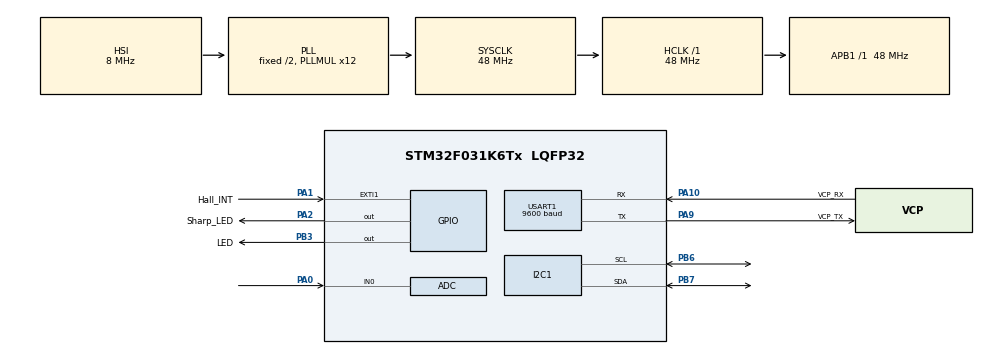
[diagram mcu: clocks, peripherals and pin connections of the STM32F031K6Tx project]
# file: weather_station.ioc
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ADC.ClockPrescaler=ADC_CLOCK_SYNC_PCLK_DIV4
ADC.ContinuousConvMode=DISABLE
ADC.DMAContinuousRequests=DISABLE
ADC.LowPowerAutoPowerOff=ENABLE
ADC.LowPowerAutoWait=ENABLE
ADC.SamplingTime=ADC_SAMPLETIME_239CYCLES_5
Mcu.Family=STM32F0
Mcu.Name=STM32F031K6Tx
Mcu.Package=LQFP32
NVIC.EXTI0_1_IRQn=true\:0\:0\:false\:false\:true\:true\:true\:true
NVIC.TIM14_IRQn=true\:0\:0\:false\:false\:true\:true\:true\:true
NVIC.USART1_IRQn=true\:0\:0\:false\:false\:true\:true\:true\:true
PA0.Mode=IN0
PA0.Signal=ADC_IN0
PA1.GPIO_Label=Hall_INT
PA1.GPIO_ModeDefaultEXTI=GPIO_MODE_IT_FALLING
PA1.GPIO_PuPd=GPIO_PULLUP
PA1.Signal=GPXTI1
PA10.GPIO_Label=VCP_RX
PA10.Mode=Asynchronous
PA10.Signal=USART1_RX
PA13.GPIO_Label=SWDIO
PA13.Mode=Serial_Wire
PA13.Signal=SYS_SWDIO
PA14.GPIO_Label=SWCLK
PA14.Mode=Serial_Wire
PA14.Signal=SYS_SWCLK
PA2.GPIO_Label=Sharp_LED
PA2.Signal=GPIO_Output
PA9.GPIO_Label=VCP_TX
PA9.Mode=Asynchronous
PA9.Signal=USART1_TX
PB3.GPIO_Label=LED
PB3.Signal=GPIO_Output
PB6.Mode=I2C
PB6.Signal=I2C1_SCL
PB7.Mode=I2C
PB7.Signal=I2C1_SDA
PF0-OSC_IN.Mode=HSE-External-Oscillator
PF0-OSC_IN.Signal=RCC_OSC_IN
PF1-OSC_OUT.Mode=HSE-External-Oscillator
PF1-OSC_OUT.Signal=RCC_OSC_OUT
ProjectManager.HeapSize=0x200
ProjectManager.StackSize=0x400
ProjectManager.TargetToolchain=STM32CubeIDE
RCC.AHBFreq_Value=48000000
RCC.APB1Freq_Value=48000000
RCC.APB1TimFreq_Value=48000000
RCC.HCLKFreq_Value=48000000
RCC.PLLMUL=RCC_PLL_MUL12
RCC.SYSCLKFreq_VALUE=48000000
RCC.SYSCLKSource=RCC_SYSCLKSOURCE_PLLCLK
TIM14.AutoReloadPreload=TIM_AUTORELOAD_PRELOAD_DISABLE
TIM14.ClockDivision=TIM_CLOCKDIVISION_DIV1
TIM14.Period=47999
TIM14.Prescaler=59999
TIM16.Period=65535
TIM16.Prescaler=47
USART1.BaudRate=9600
USART1.VirtualMode-Asynchronous=VM_ASYNC
VP_TIM14_VS_ClockSourceINT.Mode=Enable_Timer
VP_TIM16_VS_ClockSourceINT.Mode=Enable_Timer
board=NUCLEO-F031K6

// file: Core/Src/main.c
/* USER CODE BEGIN Header */
/**
 ******************************************************************************
 * @file           : main.c
 * @brief          : Main program body
 ******************************************************************************
 * @attention
 *
 * Copyright (c) 2023 STMicroelectronics.
 * All rights reserved.
 *
 * This software is licensed under terms that can be found in the LICENSE file
 * in the root directory of this software component.
 * If no LICENSE file comes with this software, it is provided AS-IS.
 *
 ******************************************************************************
 */
/* USER CODE END Header */
#include "main.h"
#include "adc.h"
#include "i2c.h"
#include "tim.h"
#include "usart.h"
#include "gpio.h"

/* USER CODE BEGIN Includes */
#include <stdio.h>
#include <stdlib.h>
#include "weather_data.h"
#include "bme280_interface.h"
#include "bme280_defs.h"
#include "bh1750.h"
/* USER CODE END Includes */

void SystemClock_Config(void);
/* USER CODE BEGIN PFP */
void HAL_TIM_PeriodElapsedCallback(TIM_HandleTypeDef *htim);
void HAL_GPIO_EXTI_Callback(uint16_t GPIO_Pin);

uint16_t read_dust(void);
void read_data(struct weather_data *data_collection);
void transfer_data(const struct weather_data *data_collection);
void delay_us(uint16_t us);
/* USER CODE END PFP */

/* USER CODE BEGIN 0 */

struct weather_data data_collection =
{ .temperature = 0, .pressure = 0, .humidity = 0, .ambient_light = 0, .dust = 0,
		.rotations = 0 };

uint8_t request_data = 1;
uint32_t anemometer_rotations = 0;

/* USER CODE END 0 */

int main(void)
{

  /* MCU Configuration--------------------------------------------------------*/

  /* Reset of all peripherals, Initializes the Flash interface and the Systick. */
  HAL_Init();

  /* Configure the system clock */
  SystemClock_Config();

  /* Initialize all configured peripherals */
  MX_GPIO_Init();
  MX_USART1_UART_Init();
  MX_TIM14_Init();
  MX_I2C1_Init();
  MX_ADC_Init();
  MX_TIM16_Init();
  /* USER CODE BEGIN 2 */
	HAL_TIM_Base_Start_IT(&htim14);
	HAL_TIM_Base_Start(&htim16);
	HAL_ADC_Start(&hadc);
	if (BME280_init() != BME280_OK)
	{
		printf("Blad inicjalizacji!\n");
	}
  /* USER CODE END 2 */

  /* Infinite loop */
  /* USER CODE BEGIN WHILE */
	while (1)
	{
		if (request_data)
		{
			read_data(&data_collection);
			transfer_data(&data_collection);
			request_data = 0;

		}
		HAL_SuspendTick();
		HAL_PWR_EnableSleepOnExit();
		HAL_PWR_EnterSLEEPMode(PWR_MAINREGULATOR_ON, PWR_SLEEPENTRY_WFI);
    /* USER CODE END WHILE */

    /* USER CODE BEGIN 3 */
		HAL_ResumeTick(); // Enable SysTick after wake-up
		HAL_GPIO_TogglePin(LED_GPIO_Port, LED_Pin);
		// HAL_Delay(100);
	}
  /* USER CODE END 3 */
}

void SystemClock_Config(void)
{
  RCC_OscInitTypeDef RCC_OscInitStruct = {0};
  RCC_ClkInitTypeDef RCC_ClkInitStruct = {0};
  RCC_PeriphCLKInitTypeDef PeriphClkInit = {0};

  /** Initializes the RCC Oscillators according to the specified parameters
  * in the RCC_OscInitTypeDef structure.
  */
  RCC_OscInitStruct.OscillatorType = RCC_OSCILLATORTYPE_HSI;
  RCC_OscInitStruct.HSIState = RCC_HSI_ON;
  RCC_OscInitStruct.HSICalibrationValue = RCC_HSICALIBRATION_DEFAULT;
  RCC_OscInitStruct.PLL.PLLState = RCC_PLL_ON;
  RCC_OscInitStruct.PLL.PLLSource = RCC_PLLSOURCE_HSI;
  RCC_OscInitStruct.PLL.PLLMUL = RCC_PLL_MUL12;
  RCC_OscInitStruct.PLL.PREDIV = RCC_PREDIV_DIV1;
  if (HAL_RCC_OscConfig(&RCC_OscInitStruct) != HAL_OK)
  {
    Error_Handler();
  }

  /** Initializes the CPU, AHB and APB buses clocks
  */
  RCC_ClkInitStruct.ClockType = RCC_CLOCKTYPE_HCLK|RCC_CLOCKTYPE_SYSCLK
                              |RCC_CLOCKTYPE_PCLK1;
  RCC_ClkInitStruct.SYSCLKSource = RCC_SYSCLKSOURCE_PLLCLK;
  RCC_ClkInitStruct.AHBCLKDivider = RCC_SYSCLK_DIV1;
  RCC_ClkInitStruct.APB1CLKDivider = RCC_HCLK_DIV1;

  if (HAL_RCC_ClockConfig(&RCC_ClkInitStruct, FLASH_LATENCY_1) != HAL_OK)
  {
    Error_Handler();
  }
  PeriphClkInit.PeriphClockSelection = RCC_PERIPHCLK_USART1|RCC_PERIPHCLK_I2C1;
  PeriphClkInit.Usart1ClockSelection = RCC_USART1CLKSOURCE_PCLK1;
  PeriphClkInit.I2c1ClockSelection = RCC_I2C1CLKSOURCE_HSI;
  if (HAL_RCCEx_PeriphCLKConfig(&PeriphClkInit) != HAL_OK)
  {
    Error_Handler();
  }
}

/* USER CODE BEGIN 4 */
void HAL_TIM_PeriodElapsedCallback(TIM_HandleTypeDef *htim)
{
	if (!request_data)
		request_data = 1;
	HAL_PWR_DisableSleepOnExit();
}

void HAL_GPIO_EXTI_Callback(uint16_t GPIO_Pin)
{
	if (GPIO_Pin == Hall_INT_Pin)
	{
		anemometer_rotations++;
		HAL_GPIO_TogglePin(LED_GPIO_Port, LED_Pin);
	}
}

uint16_t read_dust(void)
{
	uint16_t dust = 0;
	for (uint8_t i = 0; i < 10; i++)
	{
		HAL_GPIO_WritePin(Sharp_LED_GPIO_Port, Sharp_LED_Pin, GPIO_PIN_RESET);
		delay_us(280);
		if (HAL_ADC_PollForConversion(&hadc, 10) == HAL_OK)
		{
			dust += HAL_ADC_GetValue(&hadc);
			HAL_ADC_Start(&hadc);
		}
		else
			i--;

		HAL_GPIO_WritePin(Sharp_LED_GPIO_Port, Sharp_LED_Pin, GPIO_PIN_SET);
		HAL_Delay(10);
	}
	dust = (uint16_t) (dust / 10);
	return dust;
}

void read_data(struct weather_data *data_collection)
{
	uint16_t size = 0;
	if (BH1750_read_data(&*data_collection) != HAL_OK)
	{
		char data[80];
		size = sprintf(data, "Error while reading BH1750\r\n");
		HAL_UART_Transmit(&huart1, (uint8_t*) &data, size, 100);
	}
	HAL_Delay(10);
	if (BME280_read_data(&*data_collection) != BME280_OK)
	{
		char data[80];
		size = sprintf(data, "Error while reading BME280\r\n");
		HAL_UART_Transmit(&huart1, (uint8_t*) &data, size, 100);
	}
	data_collection->dust = read_dust();
	// checking rotations
	data_collection->rotations = anemometer_rotations;
	anemometer_rotations = 0;
}

void transfer_data(const struct weather_data *data_collection)
{
	char data[500];
	uint16_t size = 0;
	size =
			sprintf(data,
					"{\"Temperature\" : %ld, \"Pressure\" : %ld, \"Humidity\" : %ld, \"Ambient Light\" : %d, \"Dust\" : %d, \"Rotations\" : %ld}\r\n",
					data_collection->temperature, data_collection->pressure,
					data_collection->humidity, data_collection->ambient_light,
					data_collection->dust, data_collection->rotations);
	HAL_UART_Transmit(&huart1, (uint8_t*) &data, size, 200);
}

void delay_us(uint16_t us)
{
	__HAL_TIM_SET_COUNTER(&htim16, 0);  // set the counter value a 0
	while (__HAL_TIM_GET_COUNTER(&htim16) < us)
		;  // wait for the counter to reach the us input in the parameter
}

/* USER CODE END 4 */

void Error_Handler(void)
{
	__disable_irq();
	while (1)
	{
	}
}
